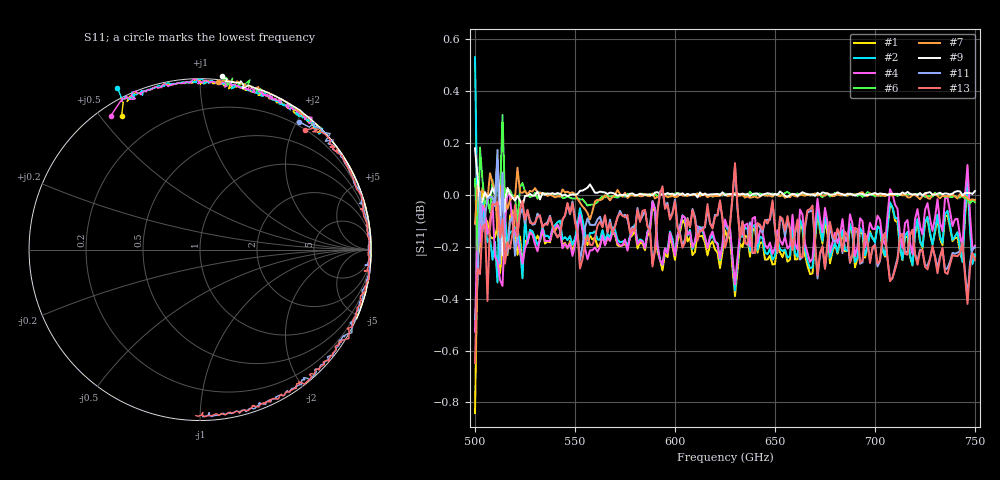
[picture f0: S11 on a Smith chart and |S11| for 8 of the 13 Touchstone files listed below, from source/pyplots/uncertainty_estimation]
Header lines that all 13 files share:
!Created with mwavepy.
# GHz S RI R 50.0
!freq	ReS11	ImS11
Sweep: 500 GHz to 750 GHz
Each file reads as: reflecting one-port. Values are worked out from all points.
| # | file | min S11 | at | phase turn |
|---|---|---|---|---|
| 1 | ewShim,0.s1p | -0.8 dB | 500 GHz | -76 deg |
| 2 | ewShim,1.s1p | -0.4 dB | 630 GHz | -73 deg |
| 3 | ewShim,2.s1p | -1.0 dB | 500 GHz | -71 deg |
| 4 | ewShim,3.s1p | -0.5 dB | 500 GHz | -74 deg |
| 5 | ewShim,4.s1p | -0.7 dB | 500 GHz | -78 deg |
| 6 | qwMilled,0.s1p | -0.2 dB | 501.2 GHz | -106 deg |
| 7 | qwMilled,1.s1p | -0.1 dB | 511.2 GHz | -108 deg |
| 8 | qwMilled,2.s1p | -0.1 dB | 503.8 GHz | -104 deg |
| 9 | qwMilled,5.s1p | -0.2 dB | 513.8 GHz | -107 deg |
| 10 | qwShim,0.s1p | -0.4 dB | 501.2 GHz | -135 deg |
| 11 | qwShim,1.s1p | -0.5 dB | 500 GHz | -141 deg |
| 12 | qwShim,3.s1p | -0.4 dB | 746.2 GHz | -140 deg |
| 13 | qwShim,5.s1p | -0.6 dB | 500 GHz | -140 deg |
